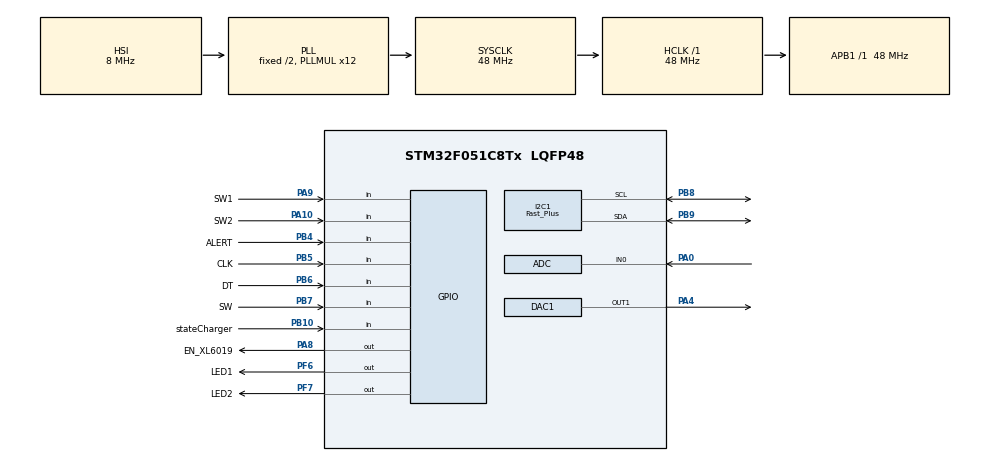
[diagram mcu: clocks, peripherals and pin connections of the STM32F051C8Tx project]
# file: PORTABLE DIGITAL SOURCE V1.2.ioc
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ADC.ContinuousConvMode=ENABLE
ADC.Resolution=ADC_RESOLUTION_8B
ADC.SamplingTime=ADC_SAMPLETIME_71CYCLES_5
I2C1.I2C_Speed_Mode=I2C_Fast_Plus
I2C1.Timing=0x20000209
Mcu.Family=STM32F0
Mcu.Name=STM32F051C8Tx
Mcu.Package=LQFP48
NVIC.TIM6_DAC_IRQn=true\:0\:0\:false\:false\:true\:true\:true\:true
PA0.Mode=IN0
PA0.Signal=ADC_IN0
PA10.GPIO_Label=SW2
PA10.GPIO_PuPd=GPIO_PULLUP
PA10.Signal=GPIO_Input
PA13.Mode=Serial_Wire
PA13.Signal=SYS_SWDIO
PA14.Mode=Serial_Wire
PA14.Signal=SYS_SWCLK
PA4.Signal=COMP_DAC11_group
PA8.GPIO_Label=EN_XL6019
PA8.GPIO_PuPd=GPIO_NOPULL
PA8.Signal=GPIO_Output
PA9.GPIO_Label=SW1
PA9.GPIO_PuPd=GPIO_PULLUP
PA9.Signal=GPIO_Input
PB10.GPIO_Label=stateCharger
PB10.GPIO_PuPd=GPIO_PULLDOWN
PB10.Signal=GPIO_Input
PB4.GPIO_Label=ALERT
PB4.Signal=GPIO_Input
PB5.GPIO_Label=CLK
PB5.GPIO_PuPd=GPIO_PULLUP
PB5.Signal=GPIO_Input
PB6.GPIO_Label=DT
PB6.GPIO_PuPd=GPIO_PULLUP
PB6.Signal=GPIO_Input
PB7.GPIO_Label=SW
PB7.GPIO_PuPd=GPIO_PULLUP
PB7.Signal=GPIO_Input
PB8.Mode=I2C
PB8.Signal=I2C1_SCL
PB9.Mode=I2C
PB9.Signal=I2C1_SDA
PF0-OSC_IN.Mode=HSE-External-Oscillator
PF0-OSC_IN.Signal=RCC_OSC_IN
PF1-OSC_OUT.Mode=HSE-External-Oscillator
PF1-OSC_OUT.Signal=RCC_OSC_OUT
PF6.GPIO_Label=LED1
PF6.Signal=GPIO_Output
PF7.GPIO_Label=LED2
PF7.Signal=GPIO_Output
ProjectManager.HeapSize=0x200
ProjectManager.StackSize=0x400
ProjectManager.TargetToolchain=STM32CubeIDE
RCC.AHBFreq_Value=48000000
RCC.APB1Freq_Value=48000000
RCC.APB1TimFreq_Value=48000000
RCC.HCLKFreq_Value=48000000
RCC.I2c1ClockSelection=RCC_I2C1CLKSOURCE_SYSCLK
RCC.PLLMUL=RCC_PLL_MUL12
RCC.SYSCLKFreq_VALUE=48000000
RCC.SYSCLKSource=RCC_SYSCLKSOURCE_PLLCLK
SH.COMP_DAC11_group.0=DAC1_OUT1,DAC_OUT1
TIM6.Period=5-1
TIM6.Prescaler=48000-1
VP_TIM6_VS_ClockSourceINT.Mode=Enable_Timer
board=custom

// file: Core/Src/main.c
/* USER CODE BEGIN Header */
/**
  ******************************************************************************
  * @file           : main.c
  * @brief          : Main program body
  ******************************************************************************
  * @attention
  *
  * Copyright (c) 2023 STMicroelectronics.
  * All rights reserved.
  *
  * This software is licensed under terms that can be found in the LICENSE file
  * in the root directory of this software component.
  * If no LICENSE file comes with this software, it is provided AS-IS.
  *
  ******************************************************************************
  */
/* USER CODE END Header */
#include "main.h"

/* USER CODE BEGIN Includes */
#include "stdio.h"
#include "string.h"
#include "math.h"

#include "Anglas_OLED_SSD1306.h"
#include "Anglas_IMAGENES.h"
#include "Anglas_ENCODER_ROT.h"
#include "Anglas_INA226.h"

#include "eeprom.h"
#include "eeprom_Config.h"
/* USER CODE END Includes */

ADC_HandleTypeDef hadc;

DAC_HandleTypeDef hdac1;

I2C_HandleTypeDef hi2c1;

TIM_HandleTypeDef htim6;

/* USER CODE BEGIN PV */
char buff[16];
float encoder;
float power,current,voltage,shunt,Vshunt;
float Vbat,Vdac,VoutMath,difference,PWM,ENCO=0;

float adcVbat=0,VbatADC,previous;

uint32_t ADC_DMA[1];

uint16_t contMillis=0;
uint8_t muestras=50;
float rango=0.08;
float step=0.5;
uint16_t cont=0;
uint16_t contButton=0;
uint8_t memButton=0;

uint8_t mem=0,suma=0;//variables para el pulsador del encoder
float point=1820.02;

extern float valor_Encoder;
extern float paso_Encoder;

uint8_t powerSupply=0;

/* USER CODE END PV */

void SystemClock_Config(void);
static void MX_GPIO_Init(void);
static void MX_I2C1_Init(void);
static void MX_TIM6_Init(void);
static void MX_DAC1_Init(void);
static void MX_ADC_Init(void);
/* USER CODE BEGIN PFP */
void medirVoltage(void);
void medirCorriente(void);
void medirPotencia(void);
void Control_Estabilizar(void);
/* USER CODE END PFP */

/* USER CODE BEGIN 0 */
typedef struct GlobalData{
	unsigned char test[10];
	unsigned int data;
}GlobalData;

GlobalData data;
/* USER CODE END 0 */

int main(void)
{

  /* MCU Configuration--------------------------------------------------------*/

  /* Reset of all peripherals, Initializes the Flash interface and the Systick. */
  HAL_Init();

  /* Configure the system clock */
  SystemClock_Config();

  /* Initialize all configured peripherals */
  MX_GPIO_Init();
  MX_I2C1_Init();
  MX_TIM6_Init();
  MX_DAC1_Init();
  MX_ADC_Init();
  /* USER CODE BEGIN 2 */
  HAL_TIM_Base_Start_IT(&htim6);

  //ee_writeToRam(0, sizeof(float), &point);
  //ee_commit();
  ee_read(0, sizeof(float), (uint8_t*)&valor_Encoder);//leo el valor de la eeprom

  OLED_Init();
  OLED_Imagen(AM_INTRO);
  OLED_Print_Text(7,0,1,"Designed by G. Anglas");
  while(HAL_GPIO_ReadPin(SW2_GPIO_Port, SW2_Pin));
  OLED_Clear();

  INA226_Init(3000,25,AVG_128,T_Vbus_588us,T_Vshunt_588us,MODE_SHUNT_BUS_CONTINUOUS);
  OLED_Print_Text(3,104,2,"OFF");
  OLED_Print_Text(2,104,1,"0.1");

  /* USER CODE END 2 */

  /* Infinite loop */
  /* USER CODE BEGIN WHILE */
  while (1)
  {

	  ///////////////////////////// ICONO DE CARGA BATERIA////////////////////////////////////////////////////
	  if(HAL_GPIO_ReadPin(stateCharger_GPIO_Port, stateCharger_Pin)==1){//Cuando se conecta el cargador
		  OLED_Print_Text(1,104,1,"ON ");
	  }else{
		  //OLED_Print_Text(0,88,2,".5V");
	  }

	  ///////////////////////////// BUTTON ENCODER - SW ///////////////////////////////////////////////////////
      if(HAL_GPIO_ReadPin(SW_GPIO_Port, SW_Pin) == 0 && mem == 0){mem = 1;}
      if(HAL_GPIO_ReadPin(SW_GPIO_Port, SW_Pin) == 1 && mem == 1){suma++; mem = 0;}

      if(suma==1){
          suma=2;  //cambio el contador para que solo haga una vez todo lo que esta dentro del if
          paso_Encoder = 1.0;
          OLED_Print_Text(2,104,1,"1.0");
      }

      if(suma==3){
          suma=0; //cambio el contador para que solo haga una vez todo lo que esta dentro del if
          paso_Encoder = 0.1;
          OLED_Print_Text(2,104,1,"0.1");
      }

      //Mantener presionado el SW2 por cierto tiempo
      if(HAL_GPIO_ReadPin(SW2_GPIO_Port, SW2_Pin) == 0){
    	  contButton++;
    	  if(contButton>15){// 1.5seg aprox
    		  contButton=0;
    		  powerSupply++;
    	  }
      }
      //Garantiza que el contButton siempre inicie de 0
      if(HAL_GPIO_ReadPin(SW2_GPIO_Port, SW2_Pin) == 1 && contButton>0){contButton=0;}

      if(powerSupply==1){
    	  powerSupply=2;
    	  OLED_Print_Text(3,104,2,"ON ");
    	  HAL_GPIO_WritePin(LED2_GPIO_Port, LED2_Pin, SET);
    	  HAL_GPIO_WritePin(EN_XL6019_GPIO_Port, EN_XL6019_Pin, SET);
    	  ee_writeToRam(0, sizeof(float), (uint8_t*)&valor_Encoder);//escribo en al eeprom
    	  ee_commit();
      }

      if(powerSupply==3){
    	  powerSupply=0;
    	  OLED_Print_Text(3,104,2,"OFF");
    	  HAL_GPIO_WritePin(LED2_GPIO_Port, LED2_Pin, RESET);
    	  HAL_GPIO_WritePin(EN_XL6019_GPIO_Port, EN_XL6019_Pin, RESET);
    	  ENCO=0;//ver si eliminar esta linea
      }

      ///////////////////////////// MEDIR VOLTAJE-CORRIENTE-POTENCIA//////////////////////////////////////////
      //medirCorriente();
      //medirPotencia();

      voltage = INA226_Vbus();//medimos el voltaje de salida

      ///////////////////////////// SETEAR VOLTAJE DE SALIDA (VOUTMATH) ///////////////////////////////////////////////////////////
      /* La formula es la siguiente:
       * VoutMath = Vref+(((Vref/R2)+((Vref-Vdac)/R3))*R1);
       * Para  R1=560k, R2=39k, R3=56k y Vref=1.25, se reduce a:
       * VoutMath = 31.7 - 10*Vdac
       * Vdac = 3.17 - VoutMath*0.1   // VoutMath = valor de encoder (0.0-30.0V);
       *
       * Vdac = encoder*3.26/4096.0;
       * encoder = Vdac*4096.0/3.26
       *
       * Formula para corregier la salida: (0.000008*encoder*encoder+0.0243*encoder-15.563)
      */

      sprintf(buff,"SET:%2.1fV ",VoutMath);
      OLED_Print_Text(0,0,2,buff);

      Vdac = 3.17 - VoutMath*0.1;
      encoder = Vdac * 4096.0/3.26;
      encoder = encoder - (0.000008*encoder*encoder+0.0243*encoder-15.563);
      Control_Estabilizar();

      ///////////////////////////// MEDIR VBAT 12VDC - ADC ///////////////////////////////////////////////////////////

	  HAL_ADC_Start(&hadc);
	  adcVbat=0;
      for(uint8_t i=0; i<muestras; i++) adcVbat += HAL_ADC_GetValue(&hadc);//Leo 20 muestras del adc para tener una lectura mas precisa
      adcVbat /= muestras;
      Vbat = adcVbat*0.05826;//(3.3/2^8)*4.3 ------ divisor resistivo V*10k/(10K+33K) -> V = 4.3

      ///////////////////////////// MILLIS ///////////////////////////////////////////////////////////
      if(voltage <= 9.9) OLED_Print_Text(2,80,3," ");

      if(contMillis>=100){//cada (Xms * 5) imprimo en el oled
    	  //sprintf(buff,"%2.2fV",Vbat); OLED_Print_Text(0,88,1,buff);
    	  if(Vbat>9 && Vbat<=9.9){
    		  OLED_Imagen_Small(0, 96, bateria0, 32, 16);
    	  }else if(Vbat>9.9 && Vbat<=10.5){
    		  OLED_Imagen_Small(0, 96, bateria25, 32, 16);
    	  }else if(Vbat>10.5 && Vbat<=11.1){
    		  OLED_Imagen_Small(0, 96, bateria50, 32, 16);
    	  }else if(Vbat>11.1 && Vbat<=11.7){
    		  OLED_Imagen_Small(0, 96, bateria75, 32, 16);
    	  }else if(Vbat>11.7 && Vbat<=12.6){
    		  OLED_Imagen_Small(0, 96, bateria100, 32, 16);
    	  }

    	  if(voltage <= 9.9) OLED_Print_Text(2,80,3," ");
    	  sprintf(buff,"%2.1fV",voltage);
    	  OLED_Print_Text(2,0,3,buff);

    	  medirCorriente();
    	  medirPotencia();

    	  contMillis=0;
      }

    /* USER CODE END WHILE */

  }
}

void SystemClock_Config(void)
{
  RCC_OscInitTypeDef RCC_OscInitStruct = {0};
  RCC_ClkInitTypeDef RCC_ClkInitStruct = {0};
  RCC_PeriphCLKInitTypeDef PeriphClkInit = {0};

  /** Initializes the RCC Oscillators according to the specified parameters
  * in the RCC_OscInitTypeDef structure.
  */
  RCC_OscInitStruct.OscillatorType = RCC_OSCILLATORTYPE_HSI|RCC_OSCILLATORTYPE_HSI14;
  RCC_OscInitStruct.HSIState = RCC_HSI_ON;
  RCC_OscInitStruct.HSI14State = RCC_HSI14_ON;
  RCC_OscInitStruct.HSICalibrationValue = RCC_HSICALIBRATION_DEFAULT;
  RCC_OscInitStruct.HSI14CalibrationValue = 16;
  RCC_OscInitStruct.PLL.PLLState = RCC_PLL_ON;
  RCC_OscInitStruct.PLL.PLLSource = RCC_PLLSOURCE_HSI;
  RCC_OscInitStruct.PLL.PLLMUL = RCC_PLL_MUL12;
  RCC_OscInitStruct.PLL.PREDIV = RCC_PREDIV_DIV1;
  if (HAL_RCC_OscConfig(&RCC_OscInitStruct) != HAL_OK)
  {
    Error_Handler();
  }

  /** Initializes the CPU, AHB and APB buses clocks
  */
  RCC_ClkInitStruct.ClockType = RCC_CLOCKTYPE_HCLK|RCC_CLOCKTYPE_SYSCLK
                              |RCC_CLOCKTYPE_PCLK1;
  RCC_ClkInitStruct.SYSCLKSource = RCC_SYSCLKSOURCE_PLLCLK;
  RCC_ClkInitStruct.AHBCLKDivider = RCC_SYSCLK_DIV1;
  RCC_ClkInitStruct.APB1CLKDivider = RCC_HCLK_DIV1;

  if (HAL_RCC_ClockConfig(&RCC_ClkInitStruct, FLASH_LATENCY_1) != HAL_OK)
  {
    Error_Handler();
  }
  PeriphClkInit.PeriphClockSelection = RCC_PERIPHCLK_I2C1;
  PeriphClkInit.I2c1ClockSelection = RCC_I2C1CLKSOURCE_SYSCLK;
  if (HAL_RCCEx_PeriphCLKConfig(&PeriphClkInit) != HAL_OK)
  {
    Error_Handler();
  }
}

static void MX_ADC_Init(void)
{

  ADC_ChannelConfTypeDef sConfig = {0};

  /** Configure the global features of the ADC (Clock, Resolution, Data Alignment and number of conversion)
  */
  hadc.Instance = ADC1;
  hadc.Init.ClockPrescaler = ADC_CLOCK_ASYNC_DIV1;
  hadc.Init.Resolution = ADC_RESOLUTION_8B;
  hadc.Init.DataAlign = ADC_DATAALIGN_RIGHT;
  hadc.Init.ScanConvMode = ADC_SCAN_DIRECTION_FORWARD;
  hadc.Init.EOCSelection = ADC_EOC_SINGLE_CONV;
  hadc.Init.LowPowerAutoWait = DISABLE;
  hadc.Init.LowPowerAutoPowerOff = DISABLE;
  hadc.Init.ContinuousConvMode = ENABLE;
  hadc.Init.DiscontinuousConvMode = DISABLE;
  hadc.Init.ExternalTrigConv = ADC_SOFTWARE_START;
  hadc.Init.ExternalTrigConvEdge = ADC_EXTERNALTRIGCONVEDGE_NONE;
  hadc.Init.DMAContinuousRequests = DISABLE;
  hadc.Init.Overrun = ADC_OVR_DATA_PRESERVED;
  if (HAL_ADC_Init(&hadc) != HAL_OK)
  {
    Error_Handler();
  }

  /** Configure for the selected ADC regular channel to be converted.
  */
  sConfig.Channel = ADC_CHANNEL_0;
  sConfig.Rank = ADC_RANK_CHANNEL_NUMBER;
  sConfig.SamplingTime = ADC_SAMPLETIME_71CYCLES_5;
  if (HAL_ADC_ConfigChannel(&hadc, &sConfig) != HAL_OK)
  {
    Error_Handler();
  }

}

static void MX_DAC1_Init(void)
{

  DAC_ChannelConfTypeDef sConfig = {0};

  /** DAC Initialization
  */
  hdac1.Instance = DAC;
  if (HAL_DAC_Init(&hdac1) != HAL_OK)
  {
    Error_Handler();
  }

  /** DAC channel OUT1 config
  */
  sConfig.DAC_Trigger = DAC_TRIGGER_NONE;
  sConfig.DAC_OutputBuffer = DAC_OUTPUTBUFFER_ENABLE;
  if (HAL_DAC_ConfigChannel(&hdac1, &sConfig, DAC_CHANNEL_1) != HAL_OK)
  {
    Error_Handler();
  }

}

static void MX_I2C1_Init(void)
{

  hi2c1.Instance = I2C1;
  hi2c1.Init.Timing = 0x20000209;
  hi2c1.Init.OwnAddress1 = 0;
  hi2c1.Init.AddressingMode = I2C_ADDRESSINGMODE_7BIT;
  hi2c1.Init.DualAddressMode = I2C_DUALADDRESS_DISABLE;
  hi2c1.Init.OwnAddress2 = 0;
  hi2c1.Init.OwnAddress2Masks = I2C_OA2_NOMASK;
  hi2c1.Init.GeneralCallMode = I2C_GENERALCALL_DISABLE;
  hi2c1.Init.NoStretchMode = I2C_NOSTRETCH_DISABLE;
  if (HAL_I2C_Init(&hi2c1) != HAL_OK)
  {
    Error_Handler();
  }

  /** Configure Analogue filter
  */
  if (HAL_I2CEx_ConfigAnalogFilter(&hi2c1, I2C_ANALOGFILTER_ENABLE) != HAL_OK)
  {
    Error_Handler();
  }

  /** Configure Digital filter
  */
  if (HAL_I2CEx_ConfigDigitalFilter(&hi2c1, 0) != HAL_OK)
  {
    Error_Handler();
  }

  /** I2C Fast mode Plus enable
  */
  __HAL_SYSCFG_FASTMODEPLUS_ENABLE(I2C_FASTMODEPLUS_I2C1);

}

static void MX_TIM6_Init(void)
{

  TIM_MasterConfigTypeDef sMasterConfig = {0};

  htim6.Instance = TIM6;
  htim6.Init.Prescaler = 48000-1;
  htim6.Init.CounterMode = TIM_COUNTERMODE_UP;
  htim6.Init.Period = 5-1;
  htim6.Init.AutoReloadPreload = TIM_AUTORELOAD_PRELOAD_DISABLE;
  if (HAL_TIM_Base_Init(&htim6) != HAL_OK)
  {
    Error_Handler();
  }
  sMasterConfig.MasterOutputTrigger = TIM_TRGO_RESET;
  sMasterConfig.MasterSlaveMode = TIM_MASTERSLAVEMODE_DISABLE;
  if (HAL_TIMEx_MasterConfigSynchronization(&htim6, &sMasterConfig) != HAL_OK)
  {
    Error_Handler();
  }

}

static void MX_GPIO_Init(void)
{
  GPIO_InitTypeDef GPIO_InitStruct = {0};

  /* GPIO Ports Clock Enable */
  __HAL_RCC_GPIOF_CLK_ENABLE();
  __HAL_RCC_GPIOA_CLK_ENABLE();
  __HAL_RCC_GPIOB_CLK_ENABLE();

  /*Configure GPIO pin Output Level */
  HAL_GPIO_WritePin(EN_XL6019_GPIO_Port, EN_XL6019_Pin, GPIO_PIN_RESET);

  /*Configure GPIO pin Output Level */
  HAL_GPIO_WritePin(GPIOF, LED1_Pin|LED2_Pin, GPIO_PIN_RESET);

  /*Configure GPIO pin : stateCharger_Pin */
  GPIO_InitStruct.Pin = stateCharger_Pin;
  GPIO_InitStruct.Mode = GPIO_MODE_INPUT;
  GPIO_InitStruct.Pull = GPIO_PULLDOWN;
  HAL_GPIO_Init(stateCharger_GPIO_Port, &GPIO_InitStruct);

  /*Configure GPIO pin : EN_XL6019_Pin */
  GPIO_InitStruct.Pin = EN_XL6019_Pin;
  GPIO_InitStruct.Mode = GPIO_MODE_OUTPUT_PP;
  GPIO_InitStruct.Pull = GPIO_NOPULL;
  GPIO_InitStruct.Speed = GPIO_SPEED_FREQ_LOW;
  HAL_GPIO_Init(EN_XL6019_GPIO_Port, &GPIO_InitStruct);

  /*Configure GPIO pins : SW1_Pin SW2_Pin */
  GPIO_InitStruct.Pin = SW1_Pin|SW2_Pin;
  GPIO_InitStruct.Mode = GPIO_MODE_INPUT;
  GPIO_InitStruct.Pull = GPIO_PULLUP;
  HAL_GPIO_Init(GPIOA, &GPIO_InitStruct);

  /*Configure GPIO pins : LED1_Pin LED2_Pin */
  GPIO_InitStruct.Pin = LED1_Pin|LED2_Pin;
  GPIO_InitStruct.Mode = GPIO_MODE_OUTPUT_PP;
  GPIO_InitStruct.Pull = GPIO_NOPULL;
  GPIO_InitStruct.Speed = GPIO_SPEED_FREQ_LOW;
  HAL_GPIO_Init(GPIOF, &GPIO_InitStruct);

  /*Configure GPIO pin : ALERT_Pin */
  GPIO_InitStruct.Pin = ALERT_Pin;
  GPIO_InitStruct.Mode = GPIO_MODE_INPUT;
  GPIO_InitStruct.Pull = GPIO_NOPULL;
  HAL_GPIO_Init(ALERT_GPIO_Port, &GPIO_InitStruct);

  /*Configure GPIO pins : CLK_Pin DT_Pin SW_Pin */
  GPIO_InitStruct.Pin = CLK_Pin|DT_Pin|SW_Pin;
  GPIO_InitStruct.Mode = GPIO_MODE_INPUT;
  GPIO_InitStruct.Pull = GPIO_PULLUP;
  HAL_GPIO_Init(GPIOB, &GPIO_InitStruct);

}

/* USER CODE BEGIN 4 */
void HAL_TIM_PeriodElapsedCallback(TIM_HandleTypeDef *htim) {
	if (htim->Instance == TIM6) {//Leemos el encoder cada 5ms
		//HAL_GPIO_TogglePin(LED1_GPIO_Port, LED1_Pin);
		VoutMath = Encoder_Run();
		contMillis++;
	}
}

void medirVoltage(void){
	voltage = INA226_Vbus();
	if(voltage <= 9.9) OLED_Print_Text(2,80,3," ");
	sprintf(buff,"%2.1fV",voltage);
	OLED_Print_Text(2,0,3,buff);
}

void medirCorriente(void){
	current = INA226_Current();
	if(current>=0){
		sprintf(buff,"%4.0fmA",current);
		OLED_Print_Text(6,0,2,buff);
	}else{
		OLED_Print_Text(6,0,2,"   0mA");
	}
}

void medirPotencia(void){
	power = INA226_Power();
    if(power>=0){
	    sprintf(buff,"%2.1fW ",power);
	    OLED_Print_Text(5,96,1,buff);
    }else{
	    OLED_Print_Text(5,96,1,"0.0W ");
    }
}

void Control_Estabilizar(void){

    HAL_DAC_Start(&hdac1, DAC_CHANNEL_1);
    if(VoutMath > voltage){
    	difference = VoutMath - voltage;
    	if(difference>=0.001 && difference<=rango){
    		ENCO=ENCO-step;
    	}else if(difference>rango && difference<=rango*2){
    		ENCO=ENCO-step;
    	}else if(difference>rango*2 && difference<=rango*3){
    		ENCO=ENCO-step;
    	}else if(difference>rango*3 && difference<=rango*4){
    		ENCO=ENCO-step;
    	}else if(difference>rango*4 && difference<=rango*5){
    		ENCO=ENCO-step;
    	}else if(difference>rango*5 && difference<=rango*6){
    		ENCO=ENCO-step*2;
    	}else if(difference>rango*6 && difference<=rango*7){
    		ENCO=ENCO-step*3;
    	}else if(difference>rango*7 && difference<=rango*8){
    		ENCO=ENCO-step*4;
    	}
    	PWM = encoder+ENCO;
    	HAL_DAC_SetValue(&hdac1, DAC_CHANNEL_1, DAC_ALIGN_12B_R, PWM);
    }

    //if(VoutMath > voltage) ENCO=0;

    if(VoutMath < voltage){
    	difference = voltage - VoutMath;
    	if(difference>=0.001 && difference<=rango){
    		ENCO=ENCO+step;
    	}else if(difference>rango && difference<=rango*2){
    		ENCO=ENCO+step;
    	}else if(difference>rango*2 && difference<=rango*3){
    		ENCO=ENCO+step;
    	}else if(difference>rango*3 && difference<=rango*4){
    		ENCO=ENCO+step;
    	}else if(difference>rango*4 && difference<=rango*5){
    		ENCO=ENCO+step;
    	}else if(difference>rango*5 && difference<=rango*6){
    		ENCO=ENCO+step*2;
    	}else if(difference>rango*6 && difference<=rango*7){
    		ENCO=ENCO+step*3;
    	}else if(difference>rango*7 && difference<=rango*8){
    		ENCO=ENCO+step*4;
    	}
    	PWM = encoder+ENCO;
    	HAL_DAC_SetValue(&hdac1, DAC_CHANNEL_1, DAC_ALIGN_12B_R, PWM);

    }
}
/* USER CODE END 4 */

void Error_Handler(void)
{
  __disable_irq();
  while (1)
  {
  }
}
